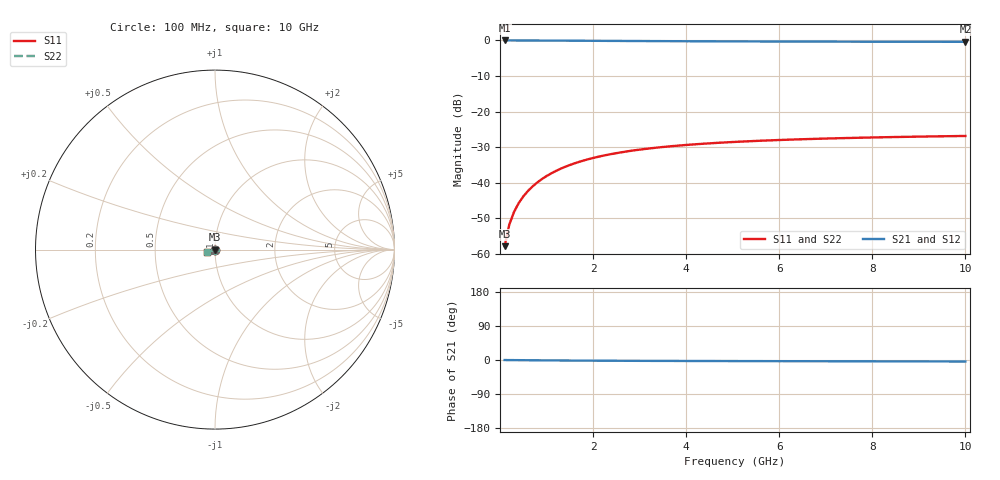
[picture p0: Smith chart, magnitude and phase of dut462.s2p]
! Touchstone file exported from HFSS 2024.1.0
!  File:  C:/UserFiles/LocalFiles/RDL_TSV_Batchsim/temp_TSV1_462_1779697657.aedt
!  Generated:  04:33:00 PM May 25, 2026
!  Design:  TSV1
!  Project:  temp_TSV1_462_1779697657
!  Setup:  Setup1
!  Solution:  Sweep
! Variables:
!  dtsv = 14.06um
!  hbump = 3um
!  htsv = 58um
!  lrdl = 252.1521522um
!  p = 40
!  p1 = 47.89um
!  t = 500um
!  trdl = 3um
!  wrdl = 24.89489489um
# GHz S MA R 50.000000
! Terminal data exported
! Port[1] = TSV22_T1
! Port[2] = TSV22_T2
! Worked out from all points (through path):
!   100 points, 100 MHz to 10 GHz, reference 50 ohm
!   highest |S21| = 0.00 dB at 100 MHz (marker M1); lowest = -0.4 dB at 10 GHz (marker M2)
!   lowest |S11| = -57.8 dB at 100 MHz (marker M3), VSWR 1.00, Z = 50 - j0.129 ohm
!   |S11| at or under -10 dB: start of sweep to end of sweep
!   |S22| runs from -57.8 to -26.8 dB; largest |S21 - S12| = 4.5e-15
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0.1  0.00129 -88.5  0.9999 -0.1  0.9999 -0.1  0.00129 -88.5
! Gamma 0 0 0 0
! Port Impedance 50 0 50 0
0.2  0.002585 -91.9  0.9998 -0.2  0.9998 -0.2  0.002585 -91.9
0.3  0.003876 -94.1  0.9996 -0.3  0.9996 -0.3  0.003876 -94.1
0.4  0.005155 -96.0  0.9993 -0.4  0.9993 -0.4  0.005155 -96.0
0.5  0.006421 -97.7  0.999 -0.5  0.999 -0.5  0.006421 -97.7
0.6  0.007669 -99.5  0.9985 -0.6  0.9985 -0.6  0.007669 -99.5
0.7  0.008898 -101.1  0.9981 -0.7  0.9981 -0.7  0.008898 -101.1
0.8  0.0101 -102.7  0.9975 -0.8  0.9975 -0.8  0.0101 -102.7
0.9  0.01129 -104.3  0.997 -0.9  0.997 -0.9  0.01129 -104.3
1.1  0.01357 -107.4  0.9957 -1.1  0.9957 -1.1  0.01357 -107.4
1.4  0.01677 -111.8  0.9935 -1.3  0.9935 -1.3  0.01677 -111.8
1.6  0.01875 -114.5  0.9919 -1.5  0.9919 -1.5  0.01875 -114.5
1.8  0.0206 -117.1  0.9904 -1.6  0.9904 -1.6  0.0206 -117.1
2.1  0.02315 -120.7  0.988 -1.8  0.988 -1.8  0.02315 -120.7
2.5  0.02612 -125.1  0.9848 -2.0  0.9848 -2.0  0.02612 -125.1
2.9  0.02868 -129.0  0.9819 -2.2  0.9819 -2.2  0.02868 -129.0
3.4  0.03138 -133.2  0.9785 -2.4  0.9785 -2.4  0.03138 -133.2
4.2  0.03481 -138.8  0.9738 -2.6  0.9738 -2.6  0.03481 -138.8
5.1  0.03772 -143.9  0.9694 -2.9  0.9694 -2.9  0.03772 -143.9
6.7  0.04135 -150.7  0.9638 -3.2  0.9638 -3.2  0.04135 -150.7
8.4  0.04389 -156.1  0.9596 -3.6  0.9596 -3.6  0.04389 -156.1
10  0.04554 -160.0  0.9569 -4.0  0.9569 -4.0  0.04554 -160.0
